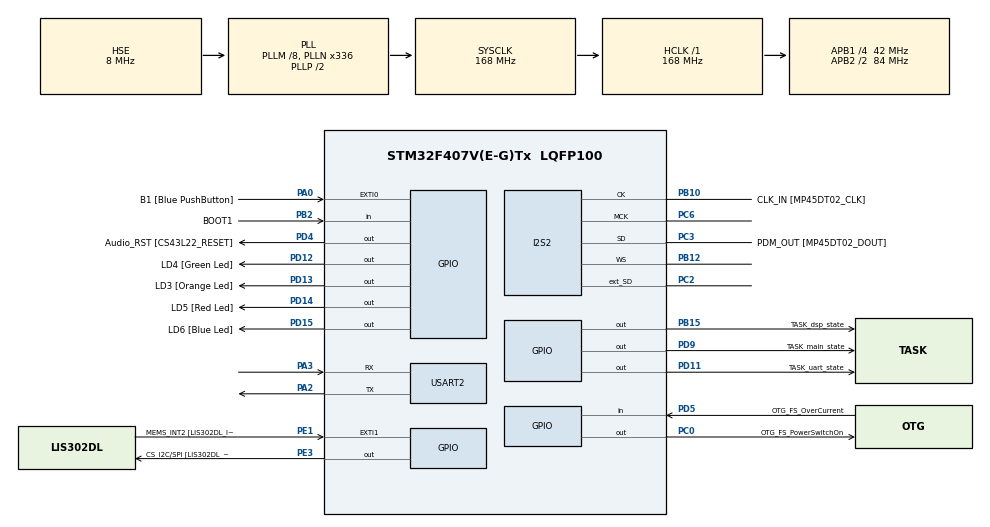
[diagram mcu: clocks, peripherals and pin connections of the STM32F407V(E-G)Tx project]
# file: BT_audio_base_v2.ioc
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Dma.I2S2_EXT_RX.0.Direction=DMA_PERIPH_TO_MEMORY
Dma.I2S2_EXT_RX.0.FIFOMode=DMA_FIFOMODE_DISABLE
Dma.I2S2_EXT_RX.0.Instance=DMA1_Stream3
Dma.I2S2_EXT_RX.0.MemDataAlignment=DMA_MDATAALIGN_HALFWORD
Dma.I2S2_EXT_RX.0.MemInc=DMA_MINC_ENABLE
Dma.I2S2_EXT_RX.0.Mode=DMA_CIRCULAR
Dma.I2S2_EXT_RX.0.PeriphDataAlignment=DMA_PDATAALIGN_HALFWORD
Dma.I2S2_EXT_RX.0.PeriphInc=DMA_PINC_DISABLE
Dma.I2S2_EXT_RX.0.Priority=DMA_PRIORITY_HIGH
Dma.Request0=I2S2_EXT_RX
Dma.Request1=SPI2_TX
Dma.SPI2_TX.1.Direction=DMA_MEMORY_TO_PERIPH
Dma.SPI2_TX.1.FIFOMode=DMA_FIFOMODE_DISABLE
Dma.SPI2_TX.1.Instance=DMA1_Stream4
Dma.SPI2_TX.1.MemDataAlignment=DMA_MDATAALIGN_HALFWORD
Dma.SPI2_TX.1.MemInc=DMA_MINC_ENABLE
Dma.SPI2_TX.1.Mode=DMA_CIRCULAR
Dma.SPI2_TX.1.PeriphDataAlignment=DMA_PDATAALIGN_HALFWORD
Dma.SPI2_TX.1.PeriphInc=DMA_PINC_DISABLE
Dma.SPI2_TX.1.Priority=DMA_PRIORITY_HIGH
FREERTOS.Tasks01=DSP_I2S_Task,24,1024,Start_DSP_I2S_Task,Default,NULL,Dynamic,NULL,NULL;UART_Task,24,512,Start_UART_Task,Default,NULL,Dynamic,NULL,NULL
FREERTOS.configUSE_NEWLIB_REENTRANT=1
I2S2.AudioFreq=I2S_AUDIOFREQ_48K
I2S2.DataFormat=I2S_DATAFORMAT_24B
I2S2.ErrorAudioFreq=-2.34 %
I2S2.FullDuplexMode=I2S_FULLDUPLEXMODE_ENABLE
I2S2.Instance=SPI$Index
I2S2.RealAudioFreq=46.875 KHz
I2S2.VirtualMode=I2S_MODE_MASTER
Mcu.Family=STM32F4
Mcu.Name=STM32F407V(E-G)Tx
Mcu.Package=LQFP100
NVIC.DMA1_Stream3_IRQn=true\:5\:0\:false\:false\:true\:true\:false\:true
NVIC.DMA1_Stream4_IRQn=true\:5\:0\:false\:false\:true\:true\:false\:true
NVIC.PriorityGroup=NVIC_PRIORITYGROUP_4
NVIC.TIM1_UP_TIM10_IRQn=true\:5\:0\:false\:false\:true\:true\:true\:true
NVIC.TIM6_DAC_IRQn=true\:15\:0\:false\:false\:true\:false\:false\:true
NVIC.TimeBase=TIM6_DAC_IRQn
NVIC.TimeBaseIP=TIM6
NVIC.USART2_IRQn=true\:5\:0\:false\:false\:true\:true\:true\:true
PA0-WKUP.GPIO_Label=B1 [Blue PushButton]
PA0-WKUP.GPIO_ModeDefaultEXTI=GPIO_MODE_EVT_RISING
PA0-WKUP.GPIO_PuPd=GPIO_NOPULL
PA0-WKUP.Signal=GPXTI0
PA10.GPIO_Label=OTG_FS_ID
PA10.GPIO_Mode=GPIO_MODE_AF_PP
PA10.GPIO_PuPd=GPIO_NOPULL
PA10.GPIO_Speed=GPIO_SPEED_FREQ_LOW
PA10.Signal=USB_OTG_FS_ID
PA11.GPIO_Label=OTG_FS_DM
PA11.GPIO_Mode=GPIO_MODE_AF_PP
PA11.GPIO_PuPd=GPIO_NOPULL
PA11.GPIO_Speed=GPIO_SPEED_FREQ_LOW
PA11.Signal=USB_OTG_FS_DM
PA12.GPIO_Label=OTG_FS_DP
PA12.GPIO_Mode=GPIO_MODE_AF_PP
PA12.GPIO_PuPd=GPIO_NOPULL
PA12.GPIO_Speed=GPIO_SPEED_FREQ_LOW
PA12.Signal=USB_OTG_FS_DP
PA13.GPIO_Label=SWDIO
PA13.Mode=Serial_Wire
PA13.Signal=SYS_JTMS-SWDIO
PA14.GPIO_Label=SWCLK
PA14.Mode=Serial_Wire
PA14.Signal=SYS_JTCK-SWCLK
PA2.Mode=Asynchronous
PA2.Signal=USART2_TX
PA3.Mode=Asynchronous
PA3.Signal=USART2_RX
PA4.GPIO_Label=I2S3_WS [CS43L22_LRCK]
PA4.GPIO_Mode=GPIO_MODE_AF_PP
PA4.GPIO_PuPd=GPIO_NOPULL
PA4.GPIO_Speed=GPIO_SPEED_FREQ_LOW
PA4.Signal=I2S3_WS
PA5.GPIO_Label=SPI1_SCK [LIS302DL_SCL/SPC]
PA5.GPIO_Mode=GPIO_MODE_AF_PP
PA5.GPIO_PuPd=GPIO_NOPULL
PA5.GPIO_Speed=GPIO_SPEED_FREQ_LOW
PA5.Signal=SPI1_SCK
PA6.GPIO_Label=SPI1_MISO [LIS302DL_SDO]
PA6.GPIO_Mode=GPIO_MODE_AF_PP
PA6.GPIO_PuPd=GPIO_NOPULL
PA6.GPIO_Speed=GPIO_SPEED_FREQ_LOW
PA6.Signal=SPI1_MISO
PA7.GPIO_Label=SPI1_MOSI [LIS302DL_SDA/SDI/SDO]
PA7.GPIO_Mode=GPIO_MODE_AF_PP
PA7.GPIO_PuPd=GPIO_NOPULL
PA7.GPIO_Speed=GPIO_SPEED_FREQ_LOW
PA7.Signal=SPI1_MOSI
PA9.GPIO_Label=VBUS_FS
PA9.GPIO_Mode=GPIO_MODE_INPUT
PA9.GPIO_PuPd=GPIO_NOPULL
PA9.Signal=USB_OTG_FS_VBUS
PB10.GPIO_Label=CLK_IN [MP45DT02_CLK]
PB10.GPIO_Mode=GPIO_MODE_AF_PP
PB10.GPIO_PuPd=GPIO_NOPULL
PB10.GPIO_Speed=GPIO_SPEED_FREQ_LOW
PB10.Mode=Full_Duplex_Master
PB10.Signal=I2S2_CK
PB12.Mode=Full_Duplex_Master
PB12.Signal=I2S2_WS
PB15.GPIO_Label=TASK_dsp_state
PB15.Signal=GPIO_Output
PB2.GPIO_Label=BOOT1
PB2.GPIO_Mode=GPIO_MODE_INPUT
PB2.GPIO_PuPd=GPIO_NOPULL
PB2.Signal=GPIO_Input
PB3.GPIO_Label=SWO
PB3.Signal=SYS_JTDO-SWO
PB6.GPIO_Label=Audio_SCL [CS43L22_SCL]
PB6.GPIO_Mode=GPIO_MODE_AF_OD
PB6.GPIO_Pu=GPIO_PULLUP
PB6.GPIO_PuPd=GPIO_NOPULL
PB6.GPIO_Speed=GPIO_SPEED_FREQ_LOW
PB6.Signal=I2C1_SCL
PB9.GPIO_Label=Audio_SDA [CS43L22_SDA]
PB9.GPIO_Mode=GPIO_MODE_AF_OD
PB9.GPIO_Pu=GPIO_PULLUP
PB9.GPIO_PuPd=GPIO_NOPULL
PB9.GPIO_Speed=GPIO_SPEED_FREQ_LOW
PB9.Signal=I2C1_SDA
PC0.GPIO_Label=OTG_FS_PowerSwitchOn
PC0.GPIO_PuPd=GPIO_NOPULL
PC0.GPIO_Speed=GPIO_SPEED_FREQ_LOW
PC0.PinState=GPIO_PIN_SET
PC0.Signal=GPIO_Output
PC10.GPIO_Label=I2S3_SCK [CS43L22_SCLK]
PC10.GPIO_Mode=GPIO_MODE_AF_PP
PC10.GPIO_PuPd=GPIO_NOPULL
PC10.GPIO_Speed=GPIO_SPEED_FREQ_LOW
PC10.Signal=I2S3_CK
PC12.GPIO_Label=I2S3_SD [CS43L22_SDIN]
PC12.GPIO_Mode=GPIO_MODE_AF_PP
PC12.GPIO_PuPd=GPIO_NOPULL
PC12.GPIO_Speed=GPIO_SPEED_FREQ_LOW
PC12.Signal=I2S3_SD
PC14-OSC32_IN.GPIO_Label=PC14-OSC32_IN
PC14-OSC32_IN.Mode=LSE-External-Oscillator
PC14-OSC32_IN.Signal=RCC_OSC32_IN
PC15-OSC32_OUT.GPIO_Label=PC15-OSC32_OUT
PC15-OSC32_OUT.Mode=LSE-External-Oscillator
PC15-OSC32_OUT.Signal=RCC_OSC32_OUT
PC2.Mode=Full_Duplex_Master
PC2.Signal=I2S2_ext_SD
PC3.GPIO_Label=PDM_OUT [MP45DT02_DOUT]
PC3.GPIO_Mode=GPIO_MODE_AF_PP
PC3.GPIO_PuPd=GPIO_NOPULL
PC3.GPIO_Speed=GPIO_SPEED_FREQ_LOW
PC3.Mode=Full_Duplex_Master
PC3.Signal=I2S2_SD
PC6.Mode=Master_Clock_Activated
PC6.Signal=I2S2_MCK
PC7.GPIO_Label=I2S3_MCK [CS43L22_MCLK]
PC7.GPIO_Mode=GPIO_MODE_AF_PP
PC7.GPIO_PuPd=GPIO_NOPULL
PC7.GPIO_Speed=GPIO_SPEED_FREQ_LOW
PC7.Signal=I2S3_MCK
PD11.GPIO_Label=TASK_uart_state
PD11.Signal=GPIO_Output
PD12.GPIO_Label=LD4 [Green Led]
PD12.GPIO_PuPd=GPIO_NOPULL
PD12.GPIO_Speed=GPIO_SPEED_FREQ_LOW
PD12.Signal=GPIO_Output
PD13.GPIO_Label=LD3 [Orange Led]
PD13.GPIO_PuPd=GPIO_NOPULL
PD13.GPIO_Speed=GPIO_SPEED_FREQ_LOW
PD13.Signal=GPIO_Output
PD14.GPIO_Label=LD5 [Red Led]
PD14.GPIO_PuPd=GPIO_NOPULL
PD14.GPIO_Speed=GPIO_SPEED_FREQ_LOW
PD14.Signal=GPIO_Output
PD15.GPIO_Label=LD6 [Blue Led]
PD15.GPIO_PuPd=GPIO_NOPULL
PD15.GPIO_Speed=GPIO_SPEED_FREQ_LOW
PD15.Signal=GPIO_Output
PD4.GPIO_Label=Audio_RST [CS43L22_RESET]
PD4.GPIO_PuPd=GPIO_NOPULL
PD4.GPIO_Speed=GPIO_SPEED_FREQ_LOW
PD4.Signal=GPIO_Output
PD5.GPIO_Label=OTG_FS_OverCurrent
PD5.GPIO_Mode=GPIO_MODE_INPUT
PD5.GPIO_PuPd=GPIO_NOPULL
PD5.Signal=GPIO_Input
PD9.GPIO_Label=TASK_main_state
PD9.Signal=GPIO_Output
PE1.GPIO_Label=MEMS_INT2 [LIS302DL_INT2]
PE1.GPIO_ModeDefaultEXTI=GPIO_MODE_EVT_RISING
PE1.GPIO_PuPd=GPIO_NOPULL
PE1.Signal=GPXTI1
PE3.GPIO_Label=CS_I2C/SPI [LIS302DL_CS_I2C/SPI]
PE3.GPIO_PuPd=GPIO_NOPULL
PE3.GPIO_Speed=GPIO_SPEED_FREQ_LOW
PE3.Signal=GPIO_Output
PH0-OSC_IN.GPIO_Label=PH0-OSC_IN
PH0-OSC_IN.Mode=HSE-External-Oscillator
PH0-OSC_IN.Signal=RCC_OSC_IN
PH1-OSC_OUT.GPIO_Label=PH1-OSC_OUT
PH1-OSC_OUT.Mode=HSE-External-Oscillator
PH1-OSC_OUT.Signal=RCC_OSC_OUT
ProjectManager.HeapSize=0x200
ProjectManager.StackSize=0x400
ProjectManager.TargetToolchain=STM32CubeIDE
RCC.48MHZClocksFreq_Value=48000000
RCC.AHBFreq_Value=168000000
RCC.APB1CLKDivider=RCC_HCLK_DIV4
RCC.APB1Freq_Value=42000000
RCC.APB1TimFreq_Value=84000000
RCC.APB2CLKDivider=RCC_HCLK_DIV2
RCC.APB2Freq_Value=84000000
RCC.APB2TimFreq_Value=168000000
RCC.CortexFreq_Value=168000000
RCC.HCLKFreq_Value=168000000
RCC.HSE_VALUE=8000000
RCC.HSI_VALUE=16000000
RCC.PLLM=8
RCC.PLLN=336
RCC.PLLQ=7
RCC.PLLSourceVirtual=RCC_PLLSOURCE_HSE
RCC.SYSCLKFreq_VALUE=168000000
RCC.SYSCLKSource=RCC_SYSCLKSOURCE_PLLCLK
RCC.VCOOutputFreq_Value=336000000
TIM10.AutoReloadPreload=TIM_AUTORELOAD_PRELOAD_ENABLE
TIM10.ClockDivision=TIM_CLOCKDIVISION_DIV4
TIM10.Period=33599
TIM10.Prescaler=999
USART2.VirtualMode=VM_ASYNC
VP_FREERTOS_VS_CMSIS_V2.Mode=CMSIS_V2
VP_SYS_VS_tim6.Mode=TIM6
VP_TIM10_VS_ClockSourceINT.Mode=Enable_Timer
board=STM32F407G-DISC1

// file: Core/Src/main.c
/* USER CODE BEGIN Header */
/**
  ******************************************************************************
  * @file           : main.c
  * @brief          : Main program body
  ******************************************************************************
  * @attention
  *
  * Copyright (c) 2021 STMicroelectronics.
  * All rights reserved.
  *
  * This software is licensed under terms that can be found in the LICENSE file
  * in the root directory of this software component.
  * If no LICENSE file comes with this software, it is provided AS-IS.
  *
  ******************************************************************************
  */
/* USER CODE END Header */
#include "main.h"
#include "cmsis_os.h"

/* USER CODE BEGIN Includes */
#define ARM_MATH_CM4
#include "arm_math.h"

/* USER CODE END Includes */

I2S_HandleTypeDef hi2s2;
DMA_HandleTypeDef hdma_i2s2_ext_rx;
DMA_HandleTypeDef hdma_spi2_tx;

TIM_HandleTypeDef htim10;

UART_HandleTypeDef huart2;

/* Definitions for DSP_I2S_Task */
osThreadId_t DSP_I2S_TaskHandle;
const osThreadAttr_t DSP_I2S_Task_attributes = {
  .name = "DSP_I2S_Task",
  .stack_size = 1024 * 4,
  .priority = (osPriority_t) osPriorityNormal,
};
/* Definitions for UART_Task */
osThreadId_t UART_TaskHandle;
const osThreadAttr_t UART_Task_attributes = {
  .name = "UART_Task",
  .stack_size = 512 * 4,
  .priority = (osPriority_t) osPriorityNormal,
};
/* USER CODE BEGIN PV */

#define NUMBER_F 512
#define NUMBER_U16 2048

//4 * 5 = 20
float iir_statesleft[20];
float iir_statesright[20];

uint16_t rxBuf[NUMBER_U16*2];
uint16_t txBuf[NUMBER_U16*2];

float in_bufferl [NUMBER_F*2];
float in_bufferr [NUMBER_F*2];
float out_bufferl [NUMBER_F*2];
float outbufferr [NUMBER_F*2];

arm_biquad_casd_df1_inst_f32 iir_settingsleft, iir_settingsright;
uint8_t callback = 0;

float32_t param_coeffs[25];
int8_t everyG[5];
uint16_t everyF[5] = {1000,1000,1000,1000,1000}; //init values!
float everyBW[5] = {1,1,1,1,1}; /// from 1 - 100 in percents of octave!

uint8_t IsChange = 5; //defaultowo jest zmiana w stanach 0,1,2,3,4
uint8_t volumeR =24; //MAX value
uint8_t volumeL =24; //MAX value

////////////////////////////////////////////////////////////
//timer for diode blinking (timer for UART transmitt optionally):
uint8_t timer_state=0;
////////////////////////////////////////////////////////////
//UART variables:
uint8_t receive_flag=0;

//RX:
char Received[6];
char sign;
uint16_t value;

//projecting coeffs variables:
float al, A, Ap1, Am1, sA, w0, bw, Q, coss, a0;

/////////////////////////////////////////////////////////////

/* USER CODE END PV */

void SystemClock_Config(void);
static void MX_GPIO_Init(void);
static void MX_DMA_Init(void);
static void MX_I2S2_Init(void);
static void MX_USART2_UART_Init(void);
static void MX_TIM10_Init(void);
void Start_DSP_I2S_Task(void *argument);
void Start_UART_Task(void *argument);

/* USER CODE BEGIN PFP */

void calc_shelf_coeffs(int8_t dBGain, uint8_t band_num, uint16_t f0, float BW)
{
	w0 = M_PI*f0/24000.0; // omega 0 dla f center
	coss = cos(w0);

	Q = pow(2.0, BW);
	Q = sqrt(Q)/(Q-1); //jezeli jest to w formie Q
	al = sin(w0)/(2.0*Q);

	A = ((float)dBGain)*0.025; // gain (NOT dB)
	A = pow(10.0, A);

	Ap1 = A+1.0;
	Am1 = A-1.0;
	sA = sqrt(A);

	if(band_num == 3) //low - shelf
	{

	a0 = Ap1+Am1*coss+2 * sA*al;
	param_coeffs[2 +(5*band_num)] = (A*(Ap1-Am1*coss-2*sA*al)/a0); //b2
	param_coeffs[1 +(5*band_num)] = 2.0*(A*(Am1-Ap1*coss)/a0); //b1
	param_coeffs[0 +(5*band_num)] = (A*(Ap1-Am1*coss+2*sA*al)/a0); //b0
	param_coeffs[4 +(5*band_num)] = -((Ap1+Am1*coss-2*sA*al)/a0); //a2
	param_coeffs[3 +(5*band_num)] = -2.0*(-(Am1+Ap1*coss)/a0); //a1
	}
	if(band_num == 4) //high - shelf
	{

	a0 = Ap1-Am1*coss+2 * sA*al;
	param_coeffs[2 +(5*band_num)] = (A*(Ap1+Am1*coss-2*sA*al)/a0); //b2
	param_coeffs[1 +(5*band_num)] = 2.0*(-A*(Am1+Ap1*coss)/a0); //b1
	param_coeffs[0 +(5*band_num)] = (A*(Ap1+Am1*coss+2*sA*al)/a0); //b0
	param_coeffs[4 +(5*band_num)] = -((Ap1-Am1*coss-2*sA*al)/a0); //a2
	param_coeffs[3 +(5*band_num)] = -2.0*((Am1-Ap1*coss)/a0); //a1

	}

}

void calc_peakEQ_coeffs(int8_t dBGain, uint8_t band_num, uint16_t f0, float BW)
{
	//f0 = 20.0*pow(2.0, al/12.0); // peak freq
	w0 = M_PI*f0/24000.0; // omega 0 dla f center
	coss = cos(w0);

	A = ((float)dBGain)*0.025; // gain (NOT dB)
	A = pow(10.0, A);

	bw = 0.1 + (float)BW*0.05; // bandwith in octaves

	Q = pow(2.0,bw);
	Q = sqrt(Q)/(Q-1);

	al = sin(w0)/(2.0*Q);

	a0 = 1.0+al/A;

	param_coeffs[2 +(5*band_num)]= (1.0-al*A)/a0; //b2
	param_coeffs[1 +(5*band_num)] = (-2*coss/a0); //b1
	param_coeffs[0 +(5*band_num)] = (1.0+al*A)/a0; //b0
	param_coeffs[4 +(5*band_num)] = -(1.0-al/A)/a0; //a2
	param_coeffs[3 +(5*band_num)] = -(-2*coss/a0); //a1

}

/* USER CODE END PFP */

int main(void)
{

  /* MCU Configuration--------------------------------------------------------*/

  /* Reset of all peripherals, Initializes the Flash interface and the Systick. */
  HAL_Init();

  /* Configure the system clock */
  SystemClock_Config();

  /* USER CODE BEGIN SysInit */

  ///* FPU initialization */
  SCB->CPACR |= ((3 << 10*2)|(3 << 11*2));

  /* USER CODE END SysInit */

  /* Initialize all configured peripherals */
  MX_GPIO_Init();
  MX_DMA_Init();
  MX_I2S2_Init();
  MX_USART2_UART_Init();
  MX_TIM10_Init();
  /* USER CODE BEGIN 2 */

// setting default peak filters:
  calc_peakEQ_coeffs(0, 0, 1000, 1);
  calc_peakEQ_coeffs(0, 1, 1000, 1);
  calc_peakEQ_coeffs(0, 2, 1000, 1);
// setting default shelf filters:
  calc_shelf_coeffs(0, 3, 500, 1.0);
  calc_shelf_coeffs(0, 4, 500, 1.0);
// ARM Biquad Direct form 2 structure init:

  arm_biquad_cascade_df1_init_f32(&iir_settingsleft, 5, &param_coeffs[0], &iir_statesleft[0]);
  arm_biquad_cascade_df1_init_f32(&iir_settingsright, 5, &param_coeffs[0], &iir_statesright[0]);

  //start i2s with 2048 samples transmission => 4096*u16 words
  HAL_I2SEx_TransmitReceive_DMA(&hi2s2, txBuf, rxBuf, NUMBER_U16);

  //optionally//timer for plot transmission:
  HAL_TIM_Base_Start_IT(&htim10);

  /* USER CODE END 2 */

  /* Init scheduler */
  osKernelInitialize();

  /* Create the thread(s) */
  /* creation of DSP_I2S_Task */
  DSP_I2S_TaskHandle = osThreadNew(Start_DSP_I2S_Task, NULL, &DSP_I2S_Task_attributes);

  /* creation of UART_Task */
  UART_TaskHandle = osThreadNew(Start_UART_Task, NULL, &UART_Task_attributes);

  /* Start scheduler */
  osKernelStart();

  /* We should never get here as control is now taken by the scheduler */
  /* Infinite loop */
  while (1)
  {
  }

}

void SystemClock_Config(void)
{
  RCC_OscInitTypeDef RCC_OscInitStruct = {0};
  RCC_ClkInitTypeDef RCC_ClkInitStruct = {0};

  /** Configure the main internal regulator output voltage
  */
  __HAL_RCC_PWR_CLK_ENABLE();
  __HAL_PWR_VOLTAGESCALING_CONFIG(PWR_REGULATOR_VOLTAGE_SCALE1);
  /** Initializes the RCC Oscillators according to the specified parameters
  * in the RCC_OscInitTypeDef structure.
  */
  RCC_OscInitStruct.OscillatorType = RCC_OSCILLATORTYPE_HSE;
  RCC_OscInitStruct.HSEState = RCC_HSE_ON;
  RCC_OscInitStruct.PLL.PLLState = RCC_PLL_ON;
  RCC_OscInitStruct.PLL.PLLSource = RCC_PLLSOURCE_HSE;
  RCC_OscInitStruct.PLL.PLLM = 8;
  RCC_OscInitStruct.PLL.PLLN = 336;
  RCC_OscInitStruct.PLL.PLLP = RCC_PLLP_DIV2;
  RCC_OscInitStruct.PLL.PLLQ = 7;
  if (HAL_RCC_OscConfig(&RCC_OscInitStruct) != HAL_OK)
  {
    Error_Handler();
  }
  /** Initializes the CPU, AHB and APB buses clocks
  */
  RCC_ClkInitStruct.ClockType = RCC_CLOCKTYPE_HCLK|RCC_CLOCKTYPE_SYSCLK
                              |RCC_CLOCKTYPE_PCLK1|RCC_CLOCKTYPE_PCLK2;
  RCC_ClkInitStruct.SYSCLKSource = RCC_SYSCLKSOURCE_PLLCLK;
  RCC_ClkInitStruct.AHBCLKDivider = RCC_SYSCLK_DIV1;
  RCC_ClkInitStruct.APB1CLKDivider = RCC_HCLK_DIV4;
  RCC_ClkInitStruct.APB2CLKDivider = RCC_HCLK_DIV2;

  if (HAL_RCC_ClockConfig(&RCC_ClkInitStruct, FLASH_LATENCY_5) != HAL_OK)
  {
    Error_Handler();
  }
}

static void MX_I2S2_Init(void)
{

  hi2s2.Instance = SPI2;
  hi2s2.Init.Mode = I2S_MODE_MASTER_TX;
  hi2s2.Init.Standard = I2S_STANDARD_PHILIPS;
  hi2s2.Init.DataFormat = I2S_DATAFORMAT_24B;
  hi2s2.Init.MCLKOutput = I2S_MCLKOUTPUT_ENABLE;
  hi2s2.Init.AudioFreq = I2S_AUDIOFREQ_48K;
  hi2s2.Init.CPOL = I2S_CPOL_LOW;
  hi2s2.Init.ClockSource = I2S_CLOCK_PLL;
  hi2s2.Init.FullDuplexMode = I2S_FULLDUPLEXMODE_ENABLE;
  if (HAL_I2S_Init(&hi2s2) != HAL_OK)
  {
    Error_Handler();
  }

}

static void MX_TIM10_Init(void)
{

  htim10.Instance = TIM10;
  htim10.Init.Prescaler = 999;
  htim10.Init.CounterMode = TIM_COUNTERMODE_UP;
  htim10.Init.Period = 33599;
  htim10.Init.ClockDivision = TIM_CLOCKDIVISION_DIV4;
  htim10.Init.AutoReloadPreload = TIM_AUTORELOAD_PRELOAD_ENABLE;
  if (HAL_TIM_Base_Init(&htim10) != HAL_OK)
  {
    Error_Handler();
  }

}

static void MX_USART2_UART_Init(void)
{

  huart2.Instance = USART2;
  huart2.Init.BaudRate = 115200;
  huart2.Init.WordLength = UART_WORDLENGTH_8B;
  huart2.Init.StopBits = UART_STOPBITS_1;
  huart2.Init.Parity = UART_PARITY_NONE;
  huart2.Init.Mode = UART_MODE_TX_RX;
  huart2.Init.HwFlowCtl = UART_HWCONTROL_NONE;
  huart2.Init.OverSampling = UART_OVERSAMPLING_16;
  if (HAL_UART_Init(&huart2) != HAL_OK)
  {
    Error_Handler();
  }

}

static void MX_DMA_Init(void)
{

  /* DMA controller clock enable */
  __HAL_RCC_DMA1_CLK_ENABLE();

  /* DMA interrupt init */
  /* DMA1_Stream3_IRQn interrupt configuration */
  HAL_NVIC_SetPriority(DMA1_Stream3_IRQn, 5, 0);
  HAL_NVIC_EnableIRQ(DMA1_Stream3_IRQn);
  /* DMA1_Stream4_IRQn interrupt configuration */
  HAL_NVIC_SetPriority(DMA1_Stream4_IRQn, 5, 0);
  HAL_NVIC_EnableIRQ(DMA1_Stream4_IRQn);

}

static void MX_GPIO_Init(void)
{
  GPIO_InitTypeDef GPIO_InitStruct = {0};

  /* GPIO Ports Clock Enable */
  __HAL_RCC_GPIOE_CLK_ENABLE();
  __HAL_RCC_GPIOC_CLK_ENABLE();
  __HAL_RCC_GPIOH_CLK_ENABLE();
  __HAL_RCC_GPIOA_CLK_ENABLE();
  __HAL_RCC_GPIOB_CLK_ENABLE();
  __HAL_RCC_GPIOD_CLK_ENABLE();

  /*Configure GPIO pin Output Level */
  HAL_GPIO_WritePin(CS_I2C_SPI_GPIO_Port, CS_I2C_SPI_Pin, GPIO_PIN_RESET);

  /*Configure GPIO pin Output Level */
  HAL_GPIO_WritePin(OTG_FS_PowerSwitchOn_GPIO_Port, OTG_FS_PowerSwitchOn_Pin, GPIO_PIN_SET);

  /*Configure GPIO pin Output Level */
  HAL_GPIO_WritePin(TASK_dsp_state_GPIO_Port, TASK_dsp_state_Pin, GPIO_PIN_RESET);

  /*Configure GPIO pin Output Level */
  HAL_GPIO_WritePin(GPIOD, TASK_main_state_Pin|TASK_uart_state_Pin|LD4_Pin|LD3_Pin
                          |LD5_Pin|LD6_Pin|Audio_RST_Pin, GPIO_PIN_RESET);

  /*Configure GPIO pin : CS_I2C_SPI_Pin */
  GPIO_InitStruct.Pin = CS_I2C_SPI_Pin;
  GPIO_InitStruct.Mode = GPIO_MODE_OUTPUT_PP;
  GPIO_InitStruct.Pull = GPIO_NOPULL;
  GPIO_InitStruct.Speed = GPIO_SPEED_FREQ_LOW;
  HAL_GPIO_Init(CS_I2C_SPI_GPIO_Port, &GPIO_InitStruct);

  /*Configure GPIO pin : OTG_FS_PowerSwitchOn_Pin */
  GPIO_InitStruct.Pin = OTG_FS_PowerSwitchOn_Pin;
  GPIO_InitStruct.Mode = GPIO_MODE_OUTPUT_PP;
  GPIO_InitStruct.Pull = GPIO_NOPULL;
  GPIO_InitStruct.Speed = GPIO_SPEED_FREQ_LOW;
  HAL_GPIO_Init(OTG_FS_PowerSwitchOn_GPIO_Port, &GPIO_InitStruct);

  /*Configure GPIO pin : B1_Pin */
  GPIO_InitStruct.Pin = B1_Pin;
  GPIO_InitStruct.Mode = GPIO_MODE_EVT_RISING;
  GPIO_InitStruct.Pull = GPIO_NOPULL;
  HAL_GPIO_Init(B1_GPIO_Port, &GPIO_InitStruct);

  /*Configure GPIO pin : I2S3_WS_Pin */
  GPIO_InitStruct.Pin = I2S3_WS_Pin;
  GPIO_InitStruct.Mode = GPIO_MODE_AF_PP;
  GPIO_InitStruct.Pull = GPIO_NOPULL;
  GPIO_InitStruct.Speed = GPIO_SPEED_FREQ_LOW;
  GPIO_InitStruct.Alternate = GPIO_AF6_SPI3;
  HAL_GPIO_Init(I2S3_WS_GPIO_Port, &GPIO_InitStruct);

  /*Configure GPIO pins : SPI1_SCK_Pin SPI1_MISO_Pin SPI1_MOSI_Pin */
  GPIO_InitStruct.Pin = SPI1_SCK_Pin|SPI1_MISO_Pin|SPI1_MOSI_Pin;
  GPIO_InitStruct.Mode = GPIO_MODE_AF_PP;
  GPIO_InitStruct.Pull = GPIO_NOPULL;
  GPIO_InitStruct.Speed = GPIO_SPEED_FREQ_LOW;
  GPIO_InitStruct.Alternate = GPIO_AF5_SPI1;
  HAL_GPIO_Init(GPIOA, &GPIO_InitStruct);

  /*Configure GPIO pin : BOOT1_Pin */
  GPIO_InitStruct.Pin = BOOT1_Pin;
  GPIO_InitStruct.Mode = GPIO_MODE_INPUT;
  GPIO_InitStruct.Pull = GPIO_NOPULL;
  HAL_GPIO_Init(BOOT1_GPIO_Port, &GPIO_InitStruct);

  /*Configure GPIO pin : TASK_dsp_state_Pin */
  GPIO_InitStruct.Pin = TASK_dsp_state_Pin;
  GPIO_InitStruct.Mode = GPIO_MODE_OUTPUT_PP;
  GPIO_InitStruct.Pull = GPIO_NOPULL;
  GPIO_InitStruct.Speed = GPIO_SPEED_FREQ_LOW;
  HAL_GPIO_Init(TASK_dsp_state_GPIO_Port, &GPIO_InitStruct);

  /*Configure GPIO pins : TASK_main_state_Pin TASK_uart_state_Pin LD4_Pin LD3_Pin
                           LD5_Pin LD6_Pin Audio_RST_Pin */
  GPIO_InitStruct.Pin = TASK_main_state_Pin|TASK_uart_state_Pin|LD4_Pin|LD3_Pin
                          |LD5_Pin|LD6_Pin|Audio_RST_Pin;
  GPIO_InitStruct.Mode = GPIO_MODE_OUTPUT_PP;
  GPIO_InitStruct.Pull = GPIO_NOPULL;
  GPIO_InitStruct.Speed = GPIO_SPEED_FREQ_LOW;
  HAL_GPIO_Init(GPIOD, &GPIO_InitStruct);

  /*Configure GPIO pins : I2S3_MCK_Pin I2S3_SCK_Pin I2S3_SD_Pin */
  GPIO_InitStruct.Pin = I2S3_MCK_Pin|I2S3_SCK_Pin|I2S3_SD_Pin;
  GPIO_InitStruct.Mode = GPIO_MODE_AF_PP;
  GPIO_InitStruct.Pull = GPIO_NOPULL;
  GPIO_InitStruct.Speed = GPIO_SPEED_FREQ_LOW;
  GPIO_InitStruct.Alternate = GPIO_AF6_SPI3;
  HAL_GPIO_Init(GPIOC, &GPIO_InitStruct);

  /*Configure GPIO pin : VBUS_FS_Pin */
  GPIO_InitStruct.Pin = VBUS_FS_Pin;
  GPIO_InitStruct.Mode = GPIO_MODE_INPUT;
  GPIO_InitStruct.Pull = GPIO_NOPULL;
  HAL_GPIO_Init(VBUS_FS_GPIO_Port, &GPIO_InitStruct);

  /*Configure GPIO pins : OTG_FS_ID_Pin OTG_FS_DM_Pin OTG_FS_DP_Pin */
  GPIO_InitStruct.Pin = OTG_FS_ID_Pin|OTG_FS_DM_Pin|OTG_FS_DP_Pin;
  GPIO_InitStruct.Mode = GPIO_MODE_AF_PP;
  GPIO_InitStruct.Pull = GPIO_NOPULL;
  GPIO_InitStruct.Speed = GPIO_SPEED_FREQ_LOW;
  GPIO_InitStruct.Alternate = GPIO_AF10_OTG_FS;
  HAL_GPIO_Init(GPIOA, &GPIO_InitStruct);

  /*Configure GPIO pin : OTG_FS_OverCurrent_Pin */
  GPIO_InitStruct.Pin = OTG_FS_OverCurrent_Pin;
  GPIO_InitStruct.Mode = GPIO_MODE_INPUT;
  GPIO_InitStruct.Pull = GPIO_NOPULL;
  HAL_GPIO_Init(OTG_FS_OverCurrent_GPIO_Port, &GPIO_InitStruct);

  /*Configure GPIO pins : Audio_SCL_Pin Audio_SDA_Pin */
  GPIO_InitStruct.Pin = Audio_SCL_Pin|Audio_SDA_Pin;
  GPIO_InitStruct.Mode = GPIO_MODE_AF_OD;
  GPIO_InitStruct.Pull = GPIO_PULLUP;
  GPIO_InitStruct.Speed = GPIO_SPEED_FREQ_LOW;
  GPIO_InitStruct.Alternate = GPIO_AF4_I2C1;
  HAL_GPIO_Init(GPIOB, &GPIO_InitStruct);

  /*Configure GPIO pin : MEMS_INT2_Pin */
  GPIO_InitStruct.Pin = MEMS_INT2_Pin;
  GPIO_InitStruct.Mode = GPIO_MODE_EVT_RISING;
  GPIO_InitStruct.Pull = GPIO_NOPULL;
  HAL_GPIO_Init(MEMS_INT2_GPIO_Port, &GPIO_InitStruct);

}

/* USER CODE BEGIN 4 */

HAL_I2SEx_TxRxHalfCpltCallback(I2S_HandleTypeDef *hi2s)
{
	callback = 1;
}
HAL_I2SEx_TxRxCpltCallback(I2S_HandleTypeDef *hi2s)
{
	callback = 2;
}

HAL_UART_RxCpltCallback(UART_HandleTypeDef *huart)
{
	receive_flag=1;
	HAL_UART_Receive_IT(&huart2, &Received, 6);
}

/* USER CODE END 4 */

void Start_DSP_I2S_Task(void *argument)
{
  /* USER CODE BEGIN 5 */
	  int offset_r_ptr;
	  int offset_w_ptr, w_ptr;
  /* Infinite loop */
  for(;;)
  {
	  /////-I2S-transmission part///////////////////////////////////////////////////////////////
  	  if (callback != 0) {

  		  if (callback == 1)
  		  {
  			  offset_r_ptr = 0;
  			  offset_w_ptr = 0;
  			  w_ptr = 0;
  		  }

  		  else if (callback == 2) {
			  offset_r_ptr = NUMBER_U16;
			  offset_w_ptr = NUMBER_F;
			  w_ptr = NUMBER_F;
  		  }

  		  for (int i=offset_r_ptr; i<offset_r_ptr+NUMBER_U16; i=i+4)
  		  {
			  in_bufferl[w_ptr] = (float) ((int) (rxBuf[i]<<16)|rxBuf[i+1]);
			  in_bufferr[w_ptr] = (float) ((int) (rxBuf[i+2]<<16)|rxBuf[i+3]);
			  w_ptr++;
  		  }

  		  arm_biquad_cascade_df1_f32(&iir_settingsleft, &in_bufferl[offset_w_ptr], &out_bufferl[offset_w_ptr], NUMBER_F);
  		  arm_biquad_cascade_df1_f32(&iir_settingsright, &in_bufferr[offset_w_ptr], &outbufferr[offset_w_ptr], NUMBER_F);

  		  w_ptr = offset_w_ptr;

  		  for (int i=offset_r_ptr; i<offset_r_ptr+NUMBER_U16; i=i+4)
  		  {
			  txBuf[i] =     (((int)(out_bufferl[w_ptr] * (volumeL * 0.0416)))>>16)&0xFFFF;
			  txBuf[i+1] =  ((int)(out_bufferl[w_ptr] * (volumeL * 0.0416)))&0xFFFF;

			  txBuf[i+2] =  (((int)(outbufferr[w_ptr] * (volumeR * 0.0416)))>>16)&0xFFFF;
			  txBuf[i+3] =  ((int)(outbufferr[w_ptr] * (volumeR * 0.0416)))&0xFFFF;
			  w_ptr++;
  		  }

  		  callback = 0;

  	  }

  	  //checking if there's need to update  and calculating coefficients:
	  if(IsChange ==0 || IsChange ==1|| IsChange ==2) //set coeffs according to band
	  {
	  calc_peakEQ_coeffs(everyG[IsChange],IsChange, everyF[IsChange], everyBW[IsChange]);

	  IsChange = 5;
	  }
	  else if(IsChange ==3 || IsChange ==4 )
	  {
	  calc_shelf_coeffs(everyG[IsChange], IsChange, everyF[IsChange], everyBW[IsChange]);
	  IsChange = 5;
	  }
	  else if(IsChange == 6)// clear settings
	  {
		  calc_peakEQ_coeffs(0, 0, 1000, 1);
		  calc_peakEQ_coeffs(0, 1, 1000, 1);
		  calc_peakEQ_coeffs(0, 2, 1000, 1);
		  calc_shelf_coeffs(0, 3, 1000, 1);
		  calc_shelf_coeffs(0, 4, 1000, 1);
		  IsChange =5;
	  }

    osDelay(1);
  }
  osThreadTerminate(NULL);
  /* USER CODE END 5 */
}

void Start_UART_Task(void *argument)
{
  /* USER CODE BEGIN Start_UART_Task */
	HAL_UART_Receive_IT(&huart2, &Received, 6);

  /* Infinite loop */
  for(;;)
  {

	  ///UART part//////////////////////////////////////////////////////////////////////////////

  if(timer_state==1)
  {
	  	 //blinking diode - work signalization;
		 HAL_GPIO_TogglePin(LD4_GPIO_Port, LD4_Pin);
		 timer_state=0;
  }

  if(receive_flag==1)// RECEIVE PART:
  {
	  //message decoding
	  sign = Received[0];
	  Received[0] = '0';
	  sscanf(Received,"%d",&value);

	  switch(sign)
	  {
//PEAK FILTERS SET:
	  case 'a':
		  everyF[0] = value;					//frequency 0
		  IsChange =0;
		  break;
	  case 'b':
		  everyBW[0] =  0.01 *value;			//BW in octaves 0
		  IsChange =0;
		  break;
	  case 'c':
		  everyG[0] = value-12;					//gain value 0
		  IsChange =0;
		  break;
	  case 'd':
		  everyF[1] = value;					//frequency 1
		  IsChange =1;
		  break;
	  case 'e':
		  everyBW[1] =  0.01 *value;			//BW in octaves 1
		  IsChange =1;
		  break;
	  case 'f':
		  everyG[1] = value-12;					//gain value 1
		  IsChange =1;
		  break;
	  case 'g':
		  everyF[2] = value;					//frequency 2
		  IsChange =2;
		  break;
	  case 'h':
		  everyBW[2] =  0.01 *value;			//BW in octaves 2
		  IsChange =2;
		  break;
	  case 'i':
		  everyG[2] = value-12;					//gain value 2
		  IsChange =2;
		  break;

//SHELF FILTERS SET:

	  case 'j':
		  everyF[3] = value;					//freqency (slope center) 3
		  IsChange =3;
		  break;
	  case 'k':
		  everyBW[3] =  0.01 *value;			// S - parameter 3
		  IsChange =3;
		  break;
	  case 'l':
		  everyG[3] = value-12;					//gain value 3
		  IsChange =3;
		  break;

	  case 'm':
		  everyF[4] = value;					//freqency (slope center) 4
		  IsChange =4;
		  break;
	  case 'n':
		  everyBW[4] =  0.01 *value;			//S - parameter 4
		  IsChange =4;
		  break;
	  case 'o':
		  everyG[4] = value-12;					//gain value 4
		  IsChange =4;
		  break;

//VOLUME SET:
	  case 'L':
		  volumeL = value;						//left channel volume level
		  break;
	  case 'R':
		  volumeR = value;						//right channel volume level
		  break;

//RESET
	  case 'z':
		  IsChange =6;							//set all settings to default
		  break;

		  break;

	  }
// message received RED LED signalisation:
	  	  HAL_GPIO_TogglePin(LD5_GPIO_Port, LD5_Pin);
	  	  osDelay(250);
	  	  HAL_GPIO_TogglePin(LD5_GPIO_Port, LD5_Pin);
	  	  receive_flag=0;

  }
    osDelay(1);
  }
  //osThreadTerminate(NULL);
  /* USER CODE END Start_UART_Task */
}

void HAL_TIM_PeriodElapsedCallback(TIM_HandleTypeDef *htim)
{
  /* USER CODE BEGIN Callback 0 */
  if(htim->Instance == TIM10){ // Jeżeli przerwanie pochodzi od timera 10
	timer_state=1;
  }

  /* USER CODE END Callback 0 */
  if (htim->Instance == TIM6) {
    HAL_IncTick();
  }
}

void Error_Handler(void)
{
  __disable_irq();
  while (1)
  {
  }
}
